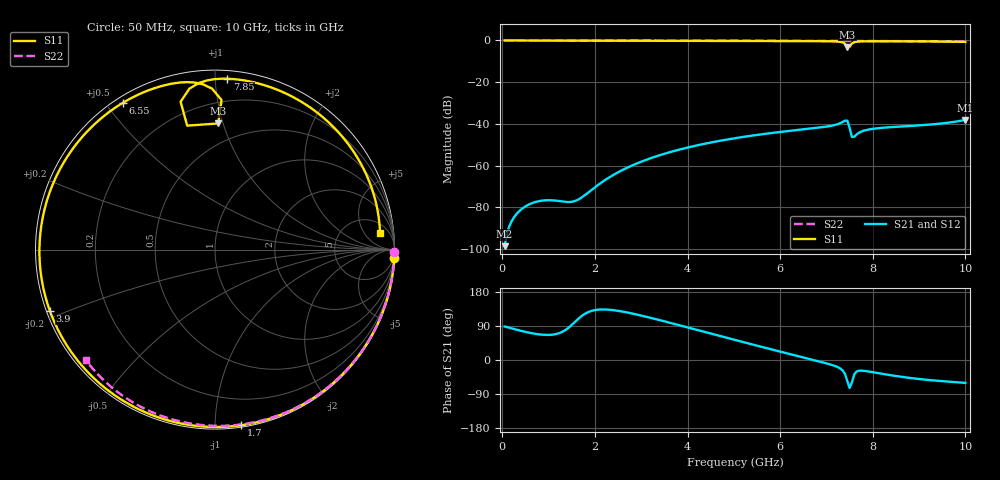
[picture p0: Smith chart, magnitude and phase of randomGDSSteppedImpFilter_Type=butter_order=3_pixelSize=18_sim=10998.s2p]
! freq	dB(S11)	phase(S11)	dB(S12)	phase(S12)
!  dB(S21)	phase(S21)	dB(S22)	phase(S22)
!S-par simulation data
#  GHz  S  DB  R 50
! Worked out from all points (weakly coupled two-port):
!   200 points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, 50 MHz to 10 GHz, reference 50 ohm
!   highest |S21| = -38.09 dB at 10 GHz (marker M1); lowest = -98.6 dB at 50 MHz (marker M2)
!   lowest |S11| = -3.1 dB at 7.45 GHz (marker M3), VSWR 5.73, Z = 17.3 + j48.2 ohm
!   |S11| at or under -10 dB: nowhere
!   |S22| runs from -0.5 to 0.0 dB; largest |S21 - S12| = 0
!   S11 on the Smith chart (normalised r, x): 50 MHz: 0, -44; 1.7 GHz: 0.01, -1.16; 3.9 GHz: 0.01, -0.18; 6.55 GHz: 0.02, +0.55; 7.85 GHz: 0.05, +1.07; 10 GHz: 10, +12
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0.05  -0.00 -2.6  -98.64 88.4  -98.64 88.4  -0.00 -0.8
0.45  -0.03 -23.1  -80.30 75.6  -80.30 75.6  -0.01 -7.2
0.95  -0.06 -47.7  -76.63 66.2  -76.63 66.2  -0.02 -15.2
1.45  -0.08 -70.8  -77.47 87.1  -77.47 87.1  -0.03 -23.1
1.7  -0.09 -81.6  -75.50 114.8  -75.50 114.8  -0.03 -27.1
1.75  -0.10 -83.7  -74.73 119.2  -74.73 119.2  -0.04 -27.8
2.5  -0.12 -113.1  -63.22 129.8  -63.22 129.8  -0.05 -39.4
3.4  -0.15 -143.9  -55.02 105.2  -55.02 105.2  -0.07 -52.9
3.9  -0.16 -159.5  -51.90 89.3  -51.90 89.3  -0.08 -60.3
5.05  -0.21 166.6  -46.78 52.1  -46.78 52.1  -0.12 -76.5
5.8  -0.25 144.8  -44.43 28.4  -44.43 28.4  -0.15 -86.7
6.55  -0.30 122.2  -42.53 5.2  -42.53 5.2  -0.18 -96.6
6.7  -0.32 117.4  -42.16 0.6  -42.16 0.6  -0.19 -98.6
7.3  -0.68 94.3  -39.65 -22.6  -39.65 -22.6  -0.23 -106.2
7.45  -3.06 88.5  -38.48 -54.9  -38.48 -54.9  -0.24 -108.1
7.5  -3.00 102.7  -41.92 -73.7  -41.92 -73.7  -0.24 -108.8
7.55  -1.46 103.1  -46.27 -59.0  -46.27 -59.0  -0.24 -109.4
7.65  -0.61 95.6  -45.09 -30.5  -45.09 -30.5  -0.25 -110.7
7.85  -0.40 85.9  -43.00 -29.2  -43.00 -29.2  -0.27 -113.2
8.35  -0.39 67.2  -41.63 -39.4  -41.63 -39.4  -0.31 -119.4
9.25  -0.49 34.5  -40.30 -53.3  -40.30 -53.3  -0.39 -130.4
10  -0.69 5.7  -38.09 -60.4  -38.09 -60.4  -0.47 -139.5
